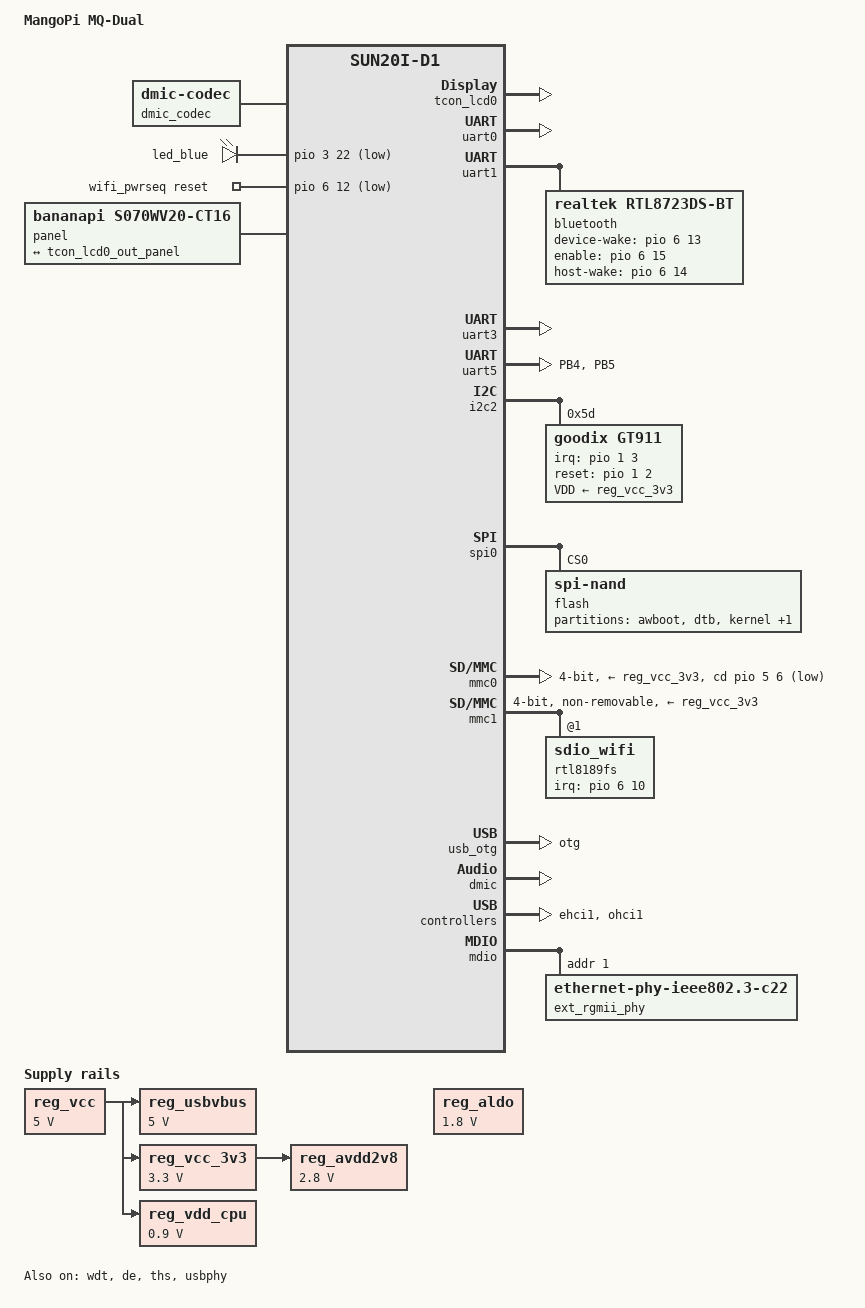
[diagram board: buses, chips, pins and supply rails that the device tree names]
// SPDX-License-Identifier: (GPL-2.0+ or MIT)
// Copyright (C) 2022 Samuel Holland <samuel@sholland.org>

/dts-v1/;

#include <dt-bindings/gpio/gpio.h>
#include <dt-bindings/leds/common.h>
#include "sun8i-t113.dtsi"

/ {
	model = "MangoPi MQ-Dual";
	compatible = "allwinner,sun20i-d1", "allwinner,sun8i";

	aliases {
		ethernet0 = &rtl8189fs;
		mmc0 = &mmc0;
		serial0 = &uart0;
		serial1 = &uart1;
		serial3 = &uart3;
		serial5 = &uart5;
	};

	chosen {
		stdout-path = "serial0:115200n8";
		// bootargs = "mem=128M cma=72M root=/dev/mmcblk0p2 init=/sbin/init rootwait earlyprintk=sunxi-uart,0x02501400 console=tty0 console=ttyS5,115200";
		// bootargs = "mem=128M cma=64M root=/dev/mmcblk0p2 init=/sbin/init rootwait console=ttyS5,115200 earlyprintk=sunxi-uart,0x02501400";
	};

	reg_vcc: vcc {
		compatible = "regulator-fixed";
		regulator-name = "vcc";
		regulator-min-microvolt = <5000000>;
		regulator-max-microvolt = <5000000>;
	};

	reg_usbvbus: usbvbus {
		compatible = "regulator-fixed";
		regulator-name = "usbvbus";
		regulator-min-microvolt = <5000000>;
		regulator-max-microvolt = <5000000>;
		vin-supply = <&reg_vcc>;
	};

	reg_vcc_3v3: vcc-3v3 {
		compatible = "regulator-fixed";
		regulator-name = "vcc-3v3";
		regulator-min-microvolt = <3300000>;
		regulator-max-microvolt = <3300000>;
		vin-supply = <&reg_vcc>;
	};

	reg_avdd2v8: avdd2v8 {
		compatible = "regulator-fixed";
		regulator-name = "avdd2v8";
		regulator-min-microvolt = <2800000>;
		regulator-max-microvolt = <2800000>;
		vin-supply = <&reg_vcc_3v3>;
	};

	reg_vdd_cpu: vdd-cpu {
		compatible = "regulator-fixed";
		regulator-name = "vdd-cpu";
		regulator-min-microvolt = <900000>;
		regulator-max-microvolt = <900000>;
		vin-supply = <&reg_vcc>;
	};


	dmic_codec: dmic-codec {
		compatible = "dmic-codec";
		num-channels = <2>;
		#sound-dai-cells = <0>;
	};

	dmic-sound {
		compatible = "simple-audio-card";
		#address-cells = <1>;
		#size-cells = <0>;

		simple-audio-card,dai-link@0 {
			format = "pdm";
			frame-master = <&link0_cpu>;
			bitclock-master = <&link0_cpu>;

			link0_cpu: cpu {
				sound-dai = <&dmic>;
			};

			link0_codec: codec {
				sound-dai = <&dmic_codec>;
			};
		};
	};

	leds {
		compatible = "gpio-leds";

		status {
			label = "led_blue";
			linux,default-trigger = "heartbeat";
			gpios = <&pio 3 22 GPIO_ACTIVE_LOW>;
			default-state = "on";
		};
	};

	wifi_pwrseq: wifi-pwrseq {
		compatible = "mmc-pwrseq-simple";
		clocks = <&ccu CLK_FANOUT1>;
		clock-names = "ext_clock";
		reset-gpios = <&pio 6 12 GPIO_ACTIVE_LOW>; /* PG12 */
		assigned-clocks = <&ccu CLK_FANOUT1>;
		assigned-clock-rates = <32768>;
		pinctrl-0 = <&clk_pg11_pin>;
		pinctrl-names = "default";
	};

	panel {
		compatible = "bananapi,s070wv20-ct16", "simple-panel";
		port {
			panel_input: endpoint {
				remote-endpoint = <&tcon_lcd0_out_panel>;
			};
		};
	};
};

&reg_aldo {
	regulator-min-microvolt = <1800000>;
	regulator-max-microvolt = <1800000>;
	vdd33-supply = <&reg_vcc_3v3>;
};

&cpu0 {
	cpu-supply = <&reg_vdd_cpu>;
};

&cpu1 {
	cpu-supply = <&reg_vdd_cpu>;
};

&wdt {
	status = "okay";
};

&de {
	status = "okay";
};

&tcon_lcd0 {
	pinctrl-names = "default";
	pinctrl-0 = <&lcd_rgb666_pins>;
	status = "okay";
};

&tcon_lcd0_out {
	tcon_lcd0_out_panel: endpoint@0 {
		reg = <0>;
		remote-endpoint = <&panel_input>;
	};
};

// &dsi {
// 	pinctrl-0 = <&dsi_4lane_pins>;
// 	pinctrl-names = "default";
// 	status = "disabled";

// 	panel: panel@0 {
// 		reg = <0>;
// 		compatible = "lg,lh500wx1-sd03";
// 		pinctrl-names = "default";
// /*
// 		pinctrl-0 = <&panel_pin>;

// 		port {
// 				panel_in: endpoint {
// 						remote-endpoint = <&dsi0_out>;
// 				};
// 		};
// */
// 	};
// };

&pio {

	vcc-pb-supply = <&reg_vcc_3v3>;
	vcc-pc-supply = <&reg_vcc_3v3>;
	vcc-pd-supply = <&reg_vcc_3v3>;
	vcc-pe-supply = <&reg_avdd2v8>;
	vcc-pf-supply = <&reg_vcc_3v3>;
	vcc-pg-supply = <&reg_vcc_3v3>;

	can0_pins_a: can0_pins@0 {
		pins = "PB2", "PB3";
		function = "can0";
		drive-strength = <10>;
		bias-pull-up;
	};

	can1_pins_a: can1_pins@0 {
		pins = "PB4", "PB5";
		function = "can1";
		drive-strength = <10>;
		bias-pull-up;
	};		

	uart5_pb4_pins: uart5-pb4-pins {
	    pins = "PB4", "PB5";
	    function = "uart5";
	};

	clk_pg11_pin: clk-pg11-pin {
			pins = "PG11";
			function = "clk";
	};

};

&uart0 {
	pinctrl-0 = <&uart0_pe2_pins>;
	pinctrl-names = "default";
	status = "okay";
};

&uart1 {
	uart-has-rtscts;
	pinctrl-0 = <&uart1_pg6_pins>, <&uart1_pg8_rts_cts_pins>;
	pinctrl-names = "default";
	status = "okay";

	bluetooth {
		compatible = "realtek,rtl8723ds-bt";
		device-wake-gpios = <&pio 6 13 GPIO_ACTIVE_HIGH>; /* PG13 */
		enable-gpios = <&pio 6 15 GPIO_ACTIVE_HIGH>; /* PG15 */
		host-wake-gpios = <&pio 6 14 GPIO_ACTIVE_HIGH>; /* PG14 */
	};
};

&uart3 {
	pinctrl-0 = <&uart3_pb_pins>;
	pinctrl-names = "default";
	status = "okay";
};

&uart5 {
	pinctrl-0 = <&uart5_pb4_pins>;
	pinctrl-names = "default";
	status = "okay";
};

&i2c2 {
	pinctrl-0 = <&i2c2_pe12_pins>;
	pinctrl-names = "default";
	status = "okay";

	gt911@5d {
		compatible = "goodix,gt911";
		reg = <0x5d>;
		interrupt-parent = <&pio>;
		interrupts = <1 3 IRQ_TYPE_EDGE_FALLING>;

		irq-gpios = <&pio 1 3 GPIO_ACTIVE_HIGH>;
		reset-gpios = <&pio 1 2 GPIO_ACTIVE_HIGH>;

		VDD-supply = <&reg_vcc_3v3>;
	};
};

&spi0 {
        pinctrl-0 = <&spi0_pins>;
        pinctrl-names = "default";
        status = "okay";

        flash@0 {
                compatible = "spi-nand";
                reg = <0>;

                partitions {
                        compatible = "fixed-partitions";
                        #address-cells = <1>;
                        #size-cells = <1>;

                        partition@0 {
                                label = "awboot";
                                reg = <0x00000000 0x00020000>;	/* 128K */
                        };

                        partition@20000 {
                                label = "dtb";
                                reg = <0x00020000 0x00020000>;  /* 128k */
                        };

                        partition@40000 {
                                label = "kernel";
                                reg = <0x00040000 0x00800000>;  /* 8MB */
                        };

                        partition@840000 {
                                label = "filesystem";
                                reg = <0x00840000 0x0f7c0000>;
                        };
                };
        };
};

&mmc0 {
	bus-width = <4>;
	cd-gpios = <&pio 5 6 (GPIO_ACTIVE_LOW)>;
	disable-wp;
	vmmc-supply = <&reg_vcc_3v3>;
	vqmmc-supply = <&reg_vcc_3v3>;
	pinctrl-0 = <&mmc0_pins>;
	pinctrl-names = "default";
	status = "okay";
};

&mmc1 {
	bus-width = <4>;
	mmc-pwrseq = <&wifi_pwrseq>;
	non-removable;
	vmmc-supply = <&reg_vcc_3v3>;
	vqmmc-supply = <&reg_vcc_3v3>;
	pinctrl-0 = <&mmc1_pins>;
	pinctrl-names = "default";
	status = "okay";

    rtl8189fs: sdio_wifi@1 {
        reg = <1>;
		interrupt-parent = <&pio>;
		interrupts = <6 10 IRQ_TYPE_LEVEL_HIGH>; /* PG10 */
		interrupt-names = "host-wake";
    };
};

&codec {
	routing = "Headphone Jack", "HPOUTL",
		  "Headphone Jack", "HPOUTR",
		  "Headset Microphone", "MICIN3"; 

/*		  "LINEINL", "HPOUTL",
		  "LINEINR", "HPOUTR";
*/
	widgets = "Microphone", "Headset Microphone",
		  "Headphone", "Headphone Jack";
	status = "disabled";
};

&usb_otg {
	dr_mode = "otg";
	status = "okay";
};

&ehci0 {
	status = "disabled";
};

&dmic {
	status = "okay";
};

&ehci1 {
	status = "okay";
};


&ohci0 {
	status = "disabled";
};

&ohci1 {
	status = "okay";
};


&ths {
	status = "okay";
/*	vref-supply = <&reg_aldo>; */
};

&usbphy {
	usb0_vbus-supply = <&reg_usbvbus>;
	usb1_vbus-supply = <&reg_usbvbus>;
	status = "okay";
};

&mdio {
	ext_rgmii_phy: ethernet-phy@1 {
		compatible = "ethernet-phy-ieee802.3-c22";
		reg = <1>;
	};
};

&emac {
	pinctrl-0 = <&rgmii_pe_pins>;
	pinctrl-names = "default";
	phy-handle = <&ext_rgmii_phy>;
	phy-mode = "rgmii-id";
	phy-supply = <&reg_vcc_3v3>;
	status = "disabled";
};

// &can0 {
// 	pinctrl-names = "default";
// 	pinctrl-0 = <&can0_pins>;
// 	status = "okay";
// };

// &can1 {
// 	pinctrl-names = "default";
// 	pinctrl-0 = <&can1_pins>;
// 	status = "disabled";
// };

